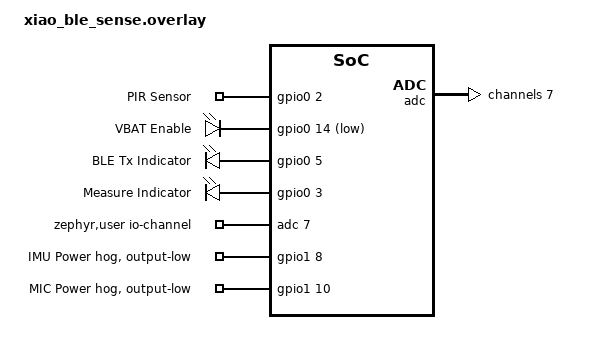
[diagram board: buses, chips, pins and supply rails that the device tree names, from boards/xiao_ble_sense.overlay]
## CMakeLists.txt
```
# SPDX-License-Identifier: MIT
cmake_minimum_required(VERSION 3.20)
find_package(Zephyr REQUIRED HINTS $ENV{ZEPHYR_BASE})
project(bthome_ext_adv)
target_sources(app PRIVATE src/main.c)
```

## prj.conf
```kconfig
# ── Bluetooth ──────────────────────────────────────────────────────────────
CONFIG_BT=y
CONFIG_BT_PERIPHERAL=y
CONFIG_BT_DEVICE_NAME="MAKE-300"

# ── Extended Advertising ────────────────────────────────────────────────────
# CONFIG_BT_EXT_ADV aktiviert die bt_le_ext_adv_* API.
# Der nRF52840 Controller (CTLR) unterstützt Ext Adv auf HCI-Ebene.
# BT_CTLR und BT_LL_CHOICE_SET sind implizit via NCS-Defaults gesetzt;
# explizite Angabe schadet nicht.
CONFIG_BT_EXT_ADV=y
CONFIG_BT_EXT_ADV_MAX_ADV_SET=1

# ── BThome V2 Library ───────────────────────────────────────────────────────
CONFIG_BTHOME_V2=y

# ── ADC (SAADC für VBAT + VDD) ─────────────────────────────────────────────
CONFIG_ADC=y
CONFIG_ADC_NRFX_SAADC=y

# ── GPIO (PIR + VBAT-Spannungsteiler-Enable) ───────────────────────────────
CONFIG_GPIO=y

# ── Power Management ────────────────────────────────────────────────────────
# CONFIG_PM_DEVICE=y  → Device-PM-Framework für ADC suspend/resume
# CONFIG_TICKLESS_KERNEL=y  → SysTick stoppt im Idle → ~300 µA gespart (DK)
CONFIG_PM_DEVICE=y
CONFIG_TICKLESS_KERNEL=y

# ── Stack-Größen ────────────────────────────────────────────────────────────
CONFIG_MAIN_STACK_SIZE=2048
CONFIG_SYSTEM_WORKQUEUE_STACK_SIZE=1536
CONFIG_BT_RX_STACK_SIZE=1024
CONFIG_IDLE_STACK_SIZE=512
```

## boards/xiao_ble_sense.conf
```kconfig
# Seeed XIAO nRF52840 Sense — board-specific config for 300_bthome_ext_adv

# ── LFCLK: RC-Oszillator ──────────────────────────────────────────────────────
# XIAO nRF52840 hat keinen externen 32.768-kHz-Quarz → RC-Pflicht.
CONFIG_CLOCK_CONTROL_NRF_K32SRC_RC=y

# ── Serial / USB / Log: ausschalten für Batteriebetrieb ───────────────────────
# USB_DEVICE_STACK=y  → ~1.1 mA  (USB-SOF-IRQ alle 1 ms hält HFXO)
# SERIAL=y            → ~1.0 mA  (UARTE0 hält HFINT-Oszillator)
CONFIG_USB_DEVICE_STACK=n
CONFIG_USB_CDC_ACM=n
CONFIG_SERIAL=n
CONFIG_CONSOLE=n
CONFIG_UART_CONSOLE=n
CONFIG_LOG=n

# ── MPSL / HFCLK – WICHTIG ────────────────────────────────────────────────────
# CONFIG_BT_UNINIT_MPSL_ON_DISABLE wird NICHT gesetzt!
# Dieses Sample nutzt bt_disable()/bt_enable() NICHT – BT bleibt dauerhaft
# an (System ON, CPU asleep). Der nRF52840 schläft im WFI-Modus (~10–45 µA).
# MPSL bleibt initialisiert und verwaltet RC-Kalibrierung korrekt.

# ── NFCT-Pins als GPIO freigeben (P0.09, P0.10) ───────────────────────────────
CONFIG_NFCT_PINS_AS_GPIOS=y

# ── BLE TX-Leistung: -20 dBm für Heimbereich (≈10 m) ─────────────────────────
CONFIG_BT_CTLR_TX_PWR_MINUS_20=y
```

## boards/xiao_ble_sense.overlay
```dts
/* SPDX-License-Identifier: MIT */
/*
 * DTS-Overlay für Seeed XIAO nRF52840 Sense — 300_bthome_ext_adv
 *
 * Pins:
 *   PIR          : P0.02 (XIAO D0), active-high, pull-down
 *   VBAT-Enable  : P0.14 (XIAO A0/D0-Side), active-low  (Spannungsteiler)
 *   VBAT-ADC     : P0.31 / AIN7
 *   Measure-LED  : P0.03 (XIAO D1), HIGH während Messung
 *   Active-LED   : P0.05 (XIAO D5), HIGH während BLE-Paket
 */

/ {
	/* ── PIR Eingang ──────────────────────────────────────────────────── */
	pir_inputs: pir_inputs {
		compatible = "gpio-keys";
		pir0: pir_0 {
			gpios = <&gpio0 2 (GPIO_ACTIVE_HIGH | GPIO_PULL_DOWN)>;
			label = "PIR Sensor";
		};
	};

	/* ── VBAT-Spannungsteiler-Enable (P0.14, active-low) ─────────────── */
	vbat_ctrl: vbat_ctrl {
		compatible = "gpio-leds";
		vbat0: vbat_0 {
			gpios = <&gpio0 14 GPIO_ACTIVE_LOW>;
			label = "VBAT Enable";
		};
	};

	/* ── Active Indicator P0.05 (D5) ─────────────────────────────────── */
	active_ind: active_indicator {
		compatible = "gpio-leds";
		active0: active_0 {
			gpios = <&gpio0 5 GPIO_ACTIVE_HIGH>;
			label = "BLE Tx Indicator";
		};
	};

	/* ── Measure Indicator P0.03 (D1) ────────────────────────────────── */
	measure_ind: measure_indicator {
		compatible = "gpio-leds";
		measure0: measure_0 {
			gpios = <&gpio0 3 GPIO_ACTIVE_HIGH>;
			label = "Measure Indicator";
		};
	};

	/* ── ADC-Kanal für VBAT (P0.31 = AIN7) ───────────────────────────── */
	zephyr,user {
		io-channels = <&adc 7>;
	};

	aliases {
		pir-sensor        = &pir0;
		vbat-ctrl         = &vbat0;
		active-indicator  = &active0;
		measure-indicator = &measure0;
	};
};

/* ── i2c1 deaktivieren (P0.04=SDA, P0.05=SCL) → P0.05 als GPIO ──────────── */
&i2c1 {
	status = "disabled";
};

/* ── QSPI-Flash Peripheral deaktivieren ──────────────────────────────────── */
&qspi {
	status = "disabled";
};

/* ── ADC konfigurieren ────────────────────────────────────────────────────── */
&adc {
	#address-cells = <1>;
	#size-cells = <0>;
	status = "okay";

	channel@7 {
		reg = <7>;
		zephyr,gain = "ADC_GAIN_1_6";
		zephyr,reference = "ADC_REF_INTERNAL";
		zephyr,acquisition-time = <ADC_ACQ_TIME(ADC_ACQ_TIME_MICROSECONDS, 40)>;
		zephyr,input-positive = <NRF_SAADC_AIN7>;    /* P0.31 */
		zephyr,resolution = <12>;
	};
};

/* ── IMU- und Mikrofon-Versorgung abschalten ─────────────────────────────── */
/* IMU LSM6DS3TR-C VCC: P1.08 → LOW schaltet Versorgung ab (~690 µA gespart) */
/* MIC MSM261D3526H1 VCC: P1.10 → LOW schaltet Versorgung ab                 */
&gpio1 {
	pwr-imu {
		gpio-hog;
		gpios = <8 GPIO_ACTIVE_HIGH>;
		output-low;
		line-name = "IMU Power";
	};
	pwr-mic {
		gpio-hog;
		gpios = <10 GPIO_ACTIVE_HIGH>;
		output-low;
		line-name = "MIC Power";
	};
};
```

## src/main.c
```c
/* SPDX-License-Identifier: MIT */
/*
 * Copyright (c) 2026 Daniel Glaser
 *
 * BThome V2 Extended Advertising Sample — 300_bthome_ext_adv
 * ===========================================================
 * Zielplattform: Seeed Studio XIAO nRF52840 Sense
 *
 * Überblick
 * ---------
 * Sendet alle 7,5 Sekunden ein BThome-V2-Keep-Alive-Paket (Temp, VBAT,
 * VDD, VBUS-Status, No-Motion) via Extended Advertising (num_events=1).
 * Bei PIR-Bewegung: sofort 5 Pakete mit Motion=1 (gleiche Packet-ID →
 * Empfänger-Deduplizierung), dann 1 Paket No-Motion, Timer-Reset.
 * Alle 6 Sendezyklen (= 60 s) werden ADC und Temperatur neu gemessen.
 *
 * State-Machine
 * -------------
 *   IDLE  ──────(k_timer SEND_TIMER feuert)──────► SEND_KEEPALIVE
 *   IDLE  ──────(PIR-ISR)────────────────────────► SEND_MOTION
 *   SEND_KEEPALIVE ──(ext_adv .sent CB)──────────► IDLE
 *   SEND_MOTION    ──(5× .sent + 1× no-motion)──► IDLE
 *
 * Power-Strategie
 * ---------------
 *   BT bleibt dauerhaft aktiv (bt_enable einmalig).
 *   Main-Thread schläft in k_sem_take(K_FOREVER) → CPU im WFI-Modus.
 *   Extended Advertising mit num_events=1 → Controller schaltet TX nach
 *   exakt 1 Paket ab; kein manuelles bt_le_ext_adv_stop() nötig.
 *   HFXO wird nur während des TX-Slots eingeschaltet (~100 µs).
 *   Schlafstrom: ~10–45 µA (LFRC aktiv, MPSL idle).
 *
 * Build:
 *   west build -b xiao_ble_sense samples/300_bthome_ext_adv
 *   oder: make 300-build BOARD=xiao_ble_sense
 */

#include <zephyr/kernel.h>
#include <zephyr/bluetooth/bluetooth.h>
#include <zephyr/bluetooth/hci.h>
#include <zephyr/drivers/gpio.h>
#include <zephyr/drivers/adc.h>
#include <zephyr/logging/log.h>
#include <zephyr/dt-bindings/adc/nrf-adc.h>
#include <hal/nrf_gpio.h>
#include <hal/nrf_power.h>

#include <bthome_v2/bthome_v2.h>

LOG_MODULE_REGISTER(bthome_ext, LOG_LEVEL_INF);

/* ═══════════════════════════════════════════════════════════════════════════
 * Timing-Konstanten
 * ═══════════════════════════════════════════════════════════════════════════ */

/** Keep-Alive-Intervall: alle 7,5 Sekunden ein Paket senden. */
#define SEND_INTERVAL_MS      7500U

/** Messung alle N Sendezyklen: ADC + Chip-Temperatur aktualisieren.
 * N MUSS eine Zweierpotenz (2^n) sein – die Prüfung nutzt eine AND-Maske
 * statt Modulo: (count & (N-1)) == 0.
 * 2^3 = 8 × 7,5 s = 60 s Mess-Intervall. */
#define MEASURE_EVERY_N_SENDS 8U
/** AND-Maske für die Mess-Intervall-Prüfung (= MEASURE_EVERY_N_SENDS - 1).
 * Vorberechnet im Präprozessor; kein Laufzeit-Overhead. */
#define MEASURE_SEND_MASK     (MEASURE_EVERY_N_SENDS - 1U)

/* Compile-Time-Prüfung: MEASURE_EVERY_N_SENDS muss eine Zweierpotenz sein.
 * Trick: (N & (N-1)) == 0 gilt genau dann wenn N eine Zweierpotenz ist. */
BUILD_ASSERT((MEASURE_EVERY_N_SENDS & MEASURE_SEND_MASK) == 0U,
	     "MEASURE_EVERY_N_SENDS muss eine Zweierpotenz sein (1,2,4,8,16,...)");

/** Minimale Pulsbreite des Measure-Indikators (D1) in ms.
 * Stellt sicher, dass der Puls auf dem PPK2 auch bei Echtzeit-Zoom sichtbar
 * ist. Wird am Ende von do_measure() per k_busy_wait erreicht. */
#define MEASURE_IND_MIN_MS    20U

/** PIR-Motion-Burst: 5 Pakete mit gleicher Packet-ID. */
#define MOTION_BURST_COUNT    5U

/* ═══════════════════════════════════════════════════════════════════════════
 * P25Q16H QSPI-Flash Deep Power-Down (GPIO Bit-Bang)
 * ═══════════════════════════════════════════════════════════════════════════ */
#define FLASH_PIN_MOSI  20u
#define FLASH_PIN_SCK   21u
#define FLASH_PIN_CSN   25u
#define FLASH_CMD_DPD   0xB9u

static void flash_deep_power_down(void)
{
	nrf_gpio_cfg_output(FLASH_PIN_CSN);
	nrf_gpio_cfg_output(FLASH_PIN_SCK);
	nrf_gpio_cfg_output(FLASH_PIN_MOSI);
	nrf_gpio_pin_set(FLASH_PIN_CSN);
	nrf_gpio_pin_clear(FLASH_PIN_SCK);
	nrf_gpio_pin_clear(FLASH_PIN_MOSI);
	nrf_gpio_pin_clear(FLASH_PIN_CSN);
	for (int i = 7; i >= 0; i--) {
		nrf_gpio_pin_write(FLASH_PIN_MOSI, (FLASH_CMD_DPD >> i) & 1u);
		nrf_gpio_pin_set(FLASH_PIN_SCK);
		nrf_gpio_pin_clear(FLASH_PIN_SCK);
	}
	nrf_gpio_pin_set(FLASH_PIN_CSN);
	k_busy_wait(10u);
}

/* ═══════════════════════════════════════════════════════════════════════════
 * GPIO-Devices (DT-Aliase aus dem Overlay)
 * ═══════════════════════════════════════════════════════════════════════════ */
static const struct gpio_dt_spec pir =
	GPIO_DT_SPEC_GET(DT_ALIAS(pir_sensor), gpios);

#if DT_NODE_HAS_STATUS(DT_ALIAS(vbat_ctrl), okay)
static const struct gpio_dt_spec vbat_en =
	GPIO_DT_SPEC_GET(DT_ALIAS(vbat_ctrl), gpios);
#define HAS_VBAT 1
#else
#define HAS_VBAT 0
#endif

#if DT_NODE_EXISTS(DT_ALIAS(active_indicator))
static const struct gpio_dt_spec led_tx =
	GPIO_DT_SPEC_GET(DT_ALIAS(active_indicator), gpios);
#define HAS_LED_TX 1
#else
#define HAS_LED_TX 0
#endif

#if DT_NODE_EXISTS(DT_ALIAS(measure_indicator))
static const struct gpio_dt_spec led_meas =
	GPIO_DT_SPEC_GET(DT_ALIAS(measure_indicator), gpios);
#define HAS_LED_MEAS 1
#else
#define HAS_LED_MEAS 0
#endif

/* ═══════════════════════════════════════════════════════════════════════════
 * ADC (SAADC) — VBAT (AIN7 / P0.31) und VDD (interne Referenz)
 * ═══════════════════════════════════════════════════════════════════════════ */

/* VBAT-Kanal aus dem DTS (zephyr,user / io-channels = <&adc 7>) */
static const struct adc_dt_spec adc_vbat =
	ADC_DT_SPEC_GET_BY_IDX(DT_PATH(zephyr_user), 0);

/* VDD-Kanal: SAADC-interne Versorgung messen (kein externer Pin).
 * NRF_SAADC_VDD=9 ist die Zephyr-DT-Binding-Konstante (nrf-adc.h). */
static const struct adc_channel_cfg vdd_cfg = {
	.gain             = ADC_GAIN_1_6,
	.reference        = ADC_REF_INTERNAL,
	.acquisition_time = ADC_ACQ_TIME(ADC_ACQ_TIME_MICROSECONDS, 40),
	.input_positive   = NRF_SAADC_VDD,
	.channel_id       = 1,      /* Kanal 1: reserviert für VDD */
};

/* ═══════════════════════════════════════════════════════════════════════════
 * Gecashte Messwerte (shared zwischen Messungs-Workqueue und ADV-Pfad)
 * Zugriff: nur aus dem System-Workqueue (measure_work) oder aus dem
 * Main-Thread (adv_send_*). Da beide nie gleichzeitig laufen (Semaphor-
 * gesteuert), ist kein Mutex nötig.
 * ═══════════════════════════════════════════════════════════════════════════ */
static struct {
	uint16_t vbat_mv;    /* VBAT in Millivolt (Spannungsteiler × 2) */
	uint16_t vdd_mv;     /* VDD 3V3-Rail in Millivolt */
	int16_t  temp_cdegc; /* Chip-Temperatur in 0.01 °C (z. B. 2500 = 25 °C) */
	bool     vbus;       /* USB VBUS erkannt */
} cache;

/* ═══════════════════════════════════════════════════════════════════════════
 * BThome-Kontext + Extended Advertising
 * ═══════════════════════════════════════════════════════════════════════════ */
static struct bthome_v2_ctx bthome;
static struct bt_le_ext_adv *ext_adv;

/** Packet-ID: wird nach jedem vollständigen Zyklus um 1 erhöht.
 *  Während des Motion-Bursts bleibt sie konstant (Deduplizierung). */
static uint8_t pkt_id;

/* ═══════════════════════════════════════════════════════════════════════════
 * Wakeup-Semaphor und atomare Flags
 * ═══════════════════════════════════════════════════════════════════════════ */
static K_SEM_DEFINE(wakeup_sem, 0, 1);

/* Flags: welche Wakeup-Quelle hat den Semaphor gegeben? */
#define FLAG_SEND_TIMER  BIT(0)  /* 10s Keep-Alive-Timer */
#define FLAG_PIR         BIT(1)  /* PIR-Interrupt */
static ATOMIC_DEFINE(wakeup_flags, 2);

/** Zähler der Keep-Alive-Sendezyklen; Messung alle MEASURE_EVERY_N_SENDS. */
static uint8_t send_count;

/* ═══════════════════════════════════════════════════════════════════════════
 * Semaphor für Extended-Adv-Abschluss (.sent Callback)
 * ═══════════════════════════════════════════════════════════════════════════ */
static K_SEM_DEFINE(adv_done_sem, 0, 1);

/* ═══════════════════════════════════════════════════════════════════════════
 * Extended Advertising Callbacks
 * ═══════════════════════════════════════════════════════════════════════════ */
static void ext_adv_sent_cb(struct bt_le_ext_adv *adv,
			    struct bt_le_ext_adv_sent_info *info)
{
	ARG_UNUSED(adv);
	ARG_UNUSED(info);
	/* Signalisiert dem Main-Thread, dass num_events=1 gesendet wurde. */
	k_sem_give(&adv_done_sem);
}

static const struct bt_le_ext_adv_cb ext_adv_cb = {
	.sent = ext_adv_sent_cb,
};

/* ═══════════════════════════════════════════════════════════════════════════
 * PIR-Interrupt
 * ═══════════════════════════════════════════════════════════════════════════ */
static struct gpio_callback pir_cb_data;

static void pir_isr(const struct device *dev, struct gpio_callback *cb,
		    uint32_t pins)
{
	ARG_UNUSED(dev);
	ARG_UNUSED(cb);
	ARG_UNUSED(pins);

	/* Interrupt sofort disarmen.
	 * EDGE_TO_ACTIVE fällt nach dem Disarmen sofort zurück auf "armed"
	 * (weil kein Pending-Event mehr aufläuft). Dennoch disarmen wir
	 * explizit, um mehrfaches Feuern während des Bursts zu verhindern.
	 * Wird am Ende des Motion-Burst-Zyklus im Main-Thread wieder aktiviert. */
	gpio_pin_interrupt_configure_dt(&pir, GPIO_INT_DISABLE);

	atomic_set_bit(wakeup_flags, FLAG_PIR);
	k_sem_give(&wakeup_sem);
}

/* ═══════════════════════════════════════════════════════════════════════════
 * 10s Keep-Alive-Timer
 * ═══════════════════════════════════════════════════════════════════════════ */
static struct k_timer send_timer;

static void send_timer_cb(struct k_timer *t)
{
	ARG_UNUSED(t);
	atomic_set_bit(wakeup_flags, FLAG_SEND_TIMER);
	k_sem_give(&wakeup_sem);
}

/* ═══════════════════════════════════════════════════════════════════════════
 * ADC-Messung: VBAT und VDD
 * ═══════════════════════════════════════════════════════════════════════════ */

/**
 * Liest VBAT (AIN7 / P0.31) über den On-Board-Spannungsteiler.
 * Der Teiler R1=1MΩ / R2=1MΩ halbiert die Spannung → × 2 für echte VBAT.
 * P0.14 wird vor der Messung LOW gesetzt (Enable) und danach DISCONNECTED
 * (hochohmig), um Leckströme über den Teiler zu vermeiden.
 *
 * Rückgabe: VBAT in Millivolt (0 bei Fehler).
 */
static uint16_t measure_vbat_mv(void)
{
#if HAS_VBAT
	int16_t raw = 0;
	int ret;

	/* Spannungsteiler einschalten (P0.14 → LOW = ACTIVE_LOW GPIO) */
	gpio_pin_configure_dt(&vbat_en, GPIO_OUTPUT_ACTIVE);
	/* Kurze Einschwingzeit */
	k_busy_wait(200u);

	struct adc_sequence seq = {
		.channels    = BIT(adc_vbat.channel_id),
		.buffer      = &raw,
		.buffer_size = sizeof(raw),
		.resolution  = 12,
	};
	ret = adc_read(adc_vbat.dev, &seq);

	/* Spannungsteiler hochohmig schalten → kein Leckstrom */
	gpio_pin_configure_dt(&vbat_en, GPIO_DISCONNECTED);

	if (ret < 0) {
		LOG_WRN("VBAT ADC read failed: %d", ret);
		return 0U;
	}

	/* raw → mV: interne Referenz = 600 mV, Gain = 1/6 → VFS = 3600 mV
	 * ADC-Wert [12-bit] = raw * 3600 / 4096
	 * VBAT = gemessene Spannung × 2 (Spannungsteiler) */
	int32_t mv = (int32_t)raw * 3600 / 4096 * 2;

	return (mv > 0) ? (uint16_t)mv : 0U;
#else
	return 0U;
#endif
}

/**
 * Liest die interne nRF52-Versorgungsspannung (VDD) über den SAADC.
 * Kein externer Pin nötig; NRF_SAADC_INPUT_VDD wird intern verbunden.
 *
 * Rückgabe: VDD in Millivolt (0 bei Fehler).
 */
static uint16_t measure_vdd_mv(void)
{
	const struct device *adc_dev = adc_vbat.dev;
	int16_t raw = 0;
	int ret;

	ret = adc_channel_setup(adc_dev, &vdd_cfg);
	if (ret < 0) {
		LOG_WRN("VDD channel setup: %d", ret);
		return 0U;
	}

	struct adc_sequence seq = {
		.channels    = BIT(vdd_cfg.channel_id),
		.buffer      = &raw,
		.buffer_size = sizeof(raw),
		.resolution  = 12,
	};
	ret = adc_read(adc_dev, &seq);
	if (ret < 0) {
		LOG_WRN("VDD ADC read failed: %d", ret);
		return 0U;
	}

	/* VFS = 3600 mV (Gain 1/6, Ref 600 mV) */
	int32_t mv = (int32_t)raw * 3600 / 4096;

	return (mv > 0) ? (uint16_t)mv : 0U;
}

/**
 * Liest die interne Chip-Temperatur des nRF52840.
 * Der TEMP-Peripheral liefert die Temperatur in 0.25 °C Schritten (Einheit:
 * 1/4 °C) als 32-Bit-Integer.  Konvertierung in 0.01 °C für BThome (0x02).
 *
 * Rückgabe: Temperatur in 0.01 °C (z. B. 2500 = 25.00 °C).
 */
static int16_t measure_chip_temp_cdegc(void)
{
	/* TEMP-Register: 1 LSB = 0.25 °C → × 100 / 4 = × 25 */
	NRF_TEMP->TASKS_START = 1;
	while (!NRF_TEMP->EVENTS_DATARDY) {
		/* busy-wait: typisch < 100 µs */
	}
	NRF_TEMP->EVENTS_DATARDY = 0;
	int32_t raw = (int32_t)NRF_TEMP->TEMP;   /* signed 32-bit, Q7.2 */
	NRF_TEMP->TASKS_STOP = 1;

	/* raw × 25 = 0.01 °C; Sättigung auf sint16-Grenzen */
	int32_t cdegc = raw * 25;

	if (cdegc > INT16_MAX) {
		cdegc = INT16_MAX;
	} else if (cdegc < INT16_MIN) {
		cdegc = INT16_MIN;
	}
	return (int16_t)cdegc;
}

/* ═══════════════════════════════════════════════════════════════════════════
 * Messung aller Werte und Aktualisierung des Cache
 * ═══════════════════════════════════════════════════════════════════════════ */
static void do_measure(void)
{
#if HAS_LED_MEAS
	gpio_pin_set_dt(&led_meas, 1);
#endif
	cache.vbat_mv    = measure_vbat_mv();
	cache.vdd_mv     = measure_vdd_mv();
	cache.temp_cdegc = measure_chip_temp_cdegc();
	cache.vbus       = (nrf_power_usbregstatus_get(NRF_POWER) &
			    NRF_POWER_USBREGSTATUS_VBUSDETECT_MASK) != 0;

	LOG_INF("Measure: vbat=%u mV  vdd=%u mV  temp=%d 0.01°C  vbus=%d",
		cache.vbat_mv, cache.vdd_mv, cache.temp_cdegc,
		(int)cache.vbus);

	/* Mindest-Pulsbreite sicherstellen → sichtbar auf PPK2 */
#if HAS_LED_MEAS
	k_msleep(MEASURE_IND_MIN_MS);
	gpio_pin_set_dt(&led_meas, 0);
#endif
}

/* ═══════════════════════════════════════════════════════════════════════════
 * BThome-Paket zusammenbauen und per Extended Advertising senden
 *
 * num_events=1 → Controller sendet genau ein ADV_EXT_IND und schaltet
 * dann automatisch ab.  Der .sent-Callback gibt adv_done_sem frei.
 * ═══════════════════════════════════════════════════════════════════════════ */
static void adv_send_packet(bool motion, uint8_t id)
{
	struct bt_le_ext_adv_start_param start = {
		.timeout    = 0,     /* kein Timeout (num_events begrenzt) */
		.num_events = 1,     /* exakt 1 Paket senden, dann stoppen */
	};

	/* BThome-Payload aufbauen */
	bthome_v2_clear(&bthome);
	bthome_v2_add_packet_id(&bthome, id);                       /* 0x00 */
	bthome_v2_add_temperature(&bthome, cache.temp_cdegc);       /* 0x02 */
	bthome_v2_add_voltage(&bthome, cache.vbat_mv);              /* 0x0C */
	bthome_v2_add_binary(&bthome, BTHOME_OBJ_POWER_BIN,
			     cache.vbus);                           /* 0x10 */
	bthome_v2_add_binary(&bthome, BTHOME_OBJ_MOTION, motion);  /* 0x21 */
	bthome_v2_encode(&bthome);

	/* Service-Data-AD aktualisieren; Flags + Name werden mit jedem
	 * Paket mitgesendet, da das Set non-scannable ist (kein Scan-Response).
	 * Payload: 3B Flags + 10B Name + 17B Service Data = 30B ≤ 31B Limit. */
	struct bt_data ad[3] = {
		BT_DATA_BYTES(BT_DATA_FLAGS,
			      BT_LE_AD_GENERAL | BT_LE_AD_NO_BREDR),
		BT_DATA(BT_DATA_NAME_COMPLETE,
			CONFIG_BT_DEVICE_NAME,
			sizeof(CONFIG_BT_DEVICE_NAME) - 1),
		{ 0 },  /* wird von bthome_v2_get_bt_data befüllt */
	};
	bthome_v2_get_bt_data(&bthome, &ad[2]);

	int ret = bt_le_ext_adv_set_data(ext_adv, ad, ARRAY_SIZE(ad), NULL, 0);

	if (ret) {
		LOG_ERR("ext_adv_set_data: %d", ret);
		return;
	}

	/* Semaphor auf 0 setzen, bevor wir starten */
	k_sem_reset(&adv_done_sem);

#if HAS_LED_TX
	gpio_pin_set_dt(&led_tx, 1);
#endif

	ret = bt_le_ext_adv_start(ext_adv, &start);
	if (ret) {
		LOG_ERR("ext_adv_start: %d", ret);
#if HAS_LED_TX
		gpio_pin_set_dt(&led_tx, 0);
#endif
		return;
	}

	/* Warten bis .sent-Callback signalisiert (num_events=1 wurde gesendet).
	 * Timeout 500 ms als Safety-Net: hängt der Controller, wird LED zurückgesetzt
	 * und die Funktion kehrt zurück statt ewig zu blockieren. */
	if (k_sem_take(&adv_done_sem, K_MSEC(500)) != 0) {
		LOG_WRN("adv_done timeout – Controller hängt?");
	}

#if HAS_LED_TX
	gpio_pin_set_dt(&led_tx, 0);
#endif

	LOG_INF("ADV sent: motion=%d id=%u", (int)motion, id);
}

/* ═══════════════════════════════════════════════════════════════════════════
 * main
 * ═══════════════════════════════════════════════════════════════════════════ */
int main(void)
{
	int ret;

	LOG_INF("=== BThome Ext Adv Sample ===");

	/* ── Flash in Deep Power-Down (vor bt_enable) ──────────────────── */
	flash_deep_power_down();

	/* ── GPIO initialisieren ────────────────────────────────────────── */
	if (!gpio_is_ready_dt(&pir)) {
		LOG_ERR("PIR GPIO nicht bereit");
		return -ENODEV;
	}
	gpio_pin_configure_dt(&pir, GPIO_INPUT);
	gpio_init_callback(&pir_cb_data, pir_isr, BIT(pir.pin));
	gpio_add_callback_dt(&pir, &pir_cb_data);

#if HAS_VBAT
	if (!gpio_is_ready_dt(&vbat_en)) {
		LOG_WRN("VBAT-Enable GPIO nicht bereit");
	}
	/* Initial hochohmig → kein Leckstrom */
	gpio_pin_configure_dt(&vbat_en, GPIO_DISCONNECTED);
#endif

#if HAS_LED_TX
	if (gpio_is_ready_dt(&led_tx)) {
		gpio_pin_configure_dt(&led_tx, GPIO_OUTPUT_INACTIVE);
	}
#endif

#if HAS_LED_MEAS
	if (gpio_is_ready_dt(&led_meas)) {
		gpio_pin_configure_dt(&led_meas, GPIO_OUTPUT_INACTIVE);
	}
#endif

	/* ── ADC initialisieren ─────────────────────────────────────────── */
	if (!adc_is_ready_dt(&adc_vbat)) {
		LOG_ERR("ADC nicht bereit");
		return -ENODEV;
	}
	ret = adc_channel_setup_dt(&adc_vbat);
	if (ret < 0) {
		LOG_ERR("ADC Kanal Setup: %d", ret);
		return ret;
	}

	/* ── BThome-Kontext initialisieren ─────────────────────────────── */
	bthome_v2_init(&bthome, false, false);

	/* ── BLE einmalig aktivieren ────────────────────────────────────── */
	ret = bt_enable(NULL);
	if (ret) {
		LOG_ERR("bt_enable: %d", ret);
		return ret;
	}
	LOG_INF("Bluetooth bereit");

	/* ── Extended Advertising Set anlegen ──────────────────────────── */
	/*
	 * BT_LE_ADV_OPT_EXT_ADV wird NICHT gesetzt → Legacy-Advertising-Set.
	 * bt_le_ext_adv_create erstellt damit einen Legacy-ADV-Set (PDU-Typ:
	 * ADV_NONCONN_IND auf Primary Channels 37/38/39). Das ist vollständig
	 * kompatibel mit BThome / Home Assistant und dem bthome-logger.
	 * num_events=1 und der .sent-Callback funktionieren auch mit Legacy-Sets.
	 * EXT_ADV würde AUX_ADV_IND auf Secondary Channels verwenden → unsichtbar
	 * für Scanner ohne BT5-Extended-Scan-Support.
	 */
	struct bt_le_adv_param adv_param =
		BT_LE_ADV_PARAM_INIT(BT_LE_ADV_OPT_USE_IDENTITY,
				     BT_GAP_ADV_FAST_INT_MIN_2,
				     BT_GAP_ADV_FAST_INT_MAX_2,
				     NULL);

	ret = bt_le_ext_adv_create(&adv_param, &ext_adv_cb, &ext_adv);
	if (ret) {
		LOG_ERR("ext_adv_create: %d", ret);
		return ret;
	}

	/* ── Erste Messung sofort durchführen ───────────────────────────── */
	do_measure();

	/* ── Timer starten ──────────────────────────────────────────────── */
	k_timer_init(&send_timer, send_timer_cb, NULL);

	k_timer_start(&send_timer, K_MSEC(SEND_INTERVAL_MS),
			       K_MSEC(SEND_INTERVAL_MS));

	/* PIR-Interrupt aktivieren.
	 * EDGE_TO_ACTIVE: fällt nur auf die steigende Flanke an.
	 * Dadurch kein sofortiges Wiederfeuern wenn PIR beim Re-Armen noch HIGH ist. */
	gpio_pin_interrupt_configure_dt(&pir, GPIO_INT_EDGE_TO_ACTIVE);

	/* Erstes Keep-Alive sofort senden */
	adv_send_packet(false, pkt_id++);

	/* ══════════════════════════════════════════════════════════════════
	 * Haupt-Schleife: CPU schläft auf Semaphor, wird von Timer oder ISR
	 * geweckt.
	 * ══════════════════════════════════════════════════════════════════ */
	while (true) {
		/* CPU schläft im WFI-Modus bis ein Flag gesetzt wird */
		k_sem_take(&wakeup_sem, K_FOREVER);

		/* ── PIR-Motion-Burst ─────────────────────────────────────── */
		if (atomic_test_and_clear_bit(wakeup_flags, FLAG_PIR)) {
			/*
			 * 5 Pakete mit GLEICHER pkt_id senden.
			 * Empfänger-seitige Deduplizierung verhindert mehrfaches
			 * Auslösen bei Paketen mit identischer ID.
			 * Die Packet-ID wird während des Bursts NICHT erhöht.
			 */
			uint8_t motion_id = pkt_id;  /* einfrieren */

			for (uint8_t i = 0; i < MOTION_BURST_COUNT; i++) {
				adv_send_packet(true, motion_id);
			}

			/* Nach dem Burst: No-Motion + Packet-ID erhöhen */
			pkt_id = (uint8_t)(motion_id + 1U);
			adv_send_packet(false, pkt_id++);

			/* Send-Timer neu starten: nächstes Keep-Alive in genau
			 * SEND_INTERVAL_MS ab diesem Moment. */
			k_timer_start(&send_timer,
				      K_MSEC(SEND_INTERVAL_MS),
				      K_MSEC(SEND_INTERVAL_MS));

			/* Konsumiere einen eventuell gleichzeitig gesetzten
			 * SEND_TIMER-Flag, da wir gerade gesendet haben. */
			atomic_clear_bit(wakeup_flags, FLAG_SEND_TIMER);

			/* PIR-Interrupt wieder scharfstellen (Flanken-getriggert) */
			gpio_pin_interrupt_configure_dt(&pir,
							GPIO_INT_EDGE_TO_ACTIVE);
			continue;
		}

		/* ── Keep-Alive senden ────────────────────────────────────── */
		if (atomic_test_and_clear_bit(wakeup_flags, FLAG_SEND_TIMER)) {
			/* Alle MEASURE_EVERY_N_SENDS Zyklen vor dem Senden messen.
			 * AND-Maske statt Modulo (N ist Zweierpotenz): */
			if ((++send_count & MEASURE_SEND_MASK) == 0U) {
				do_measure();
			}
			adv_send_packet(false, pkt_id++);
		}
	}

	return 0;
}
```
